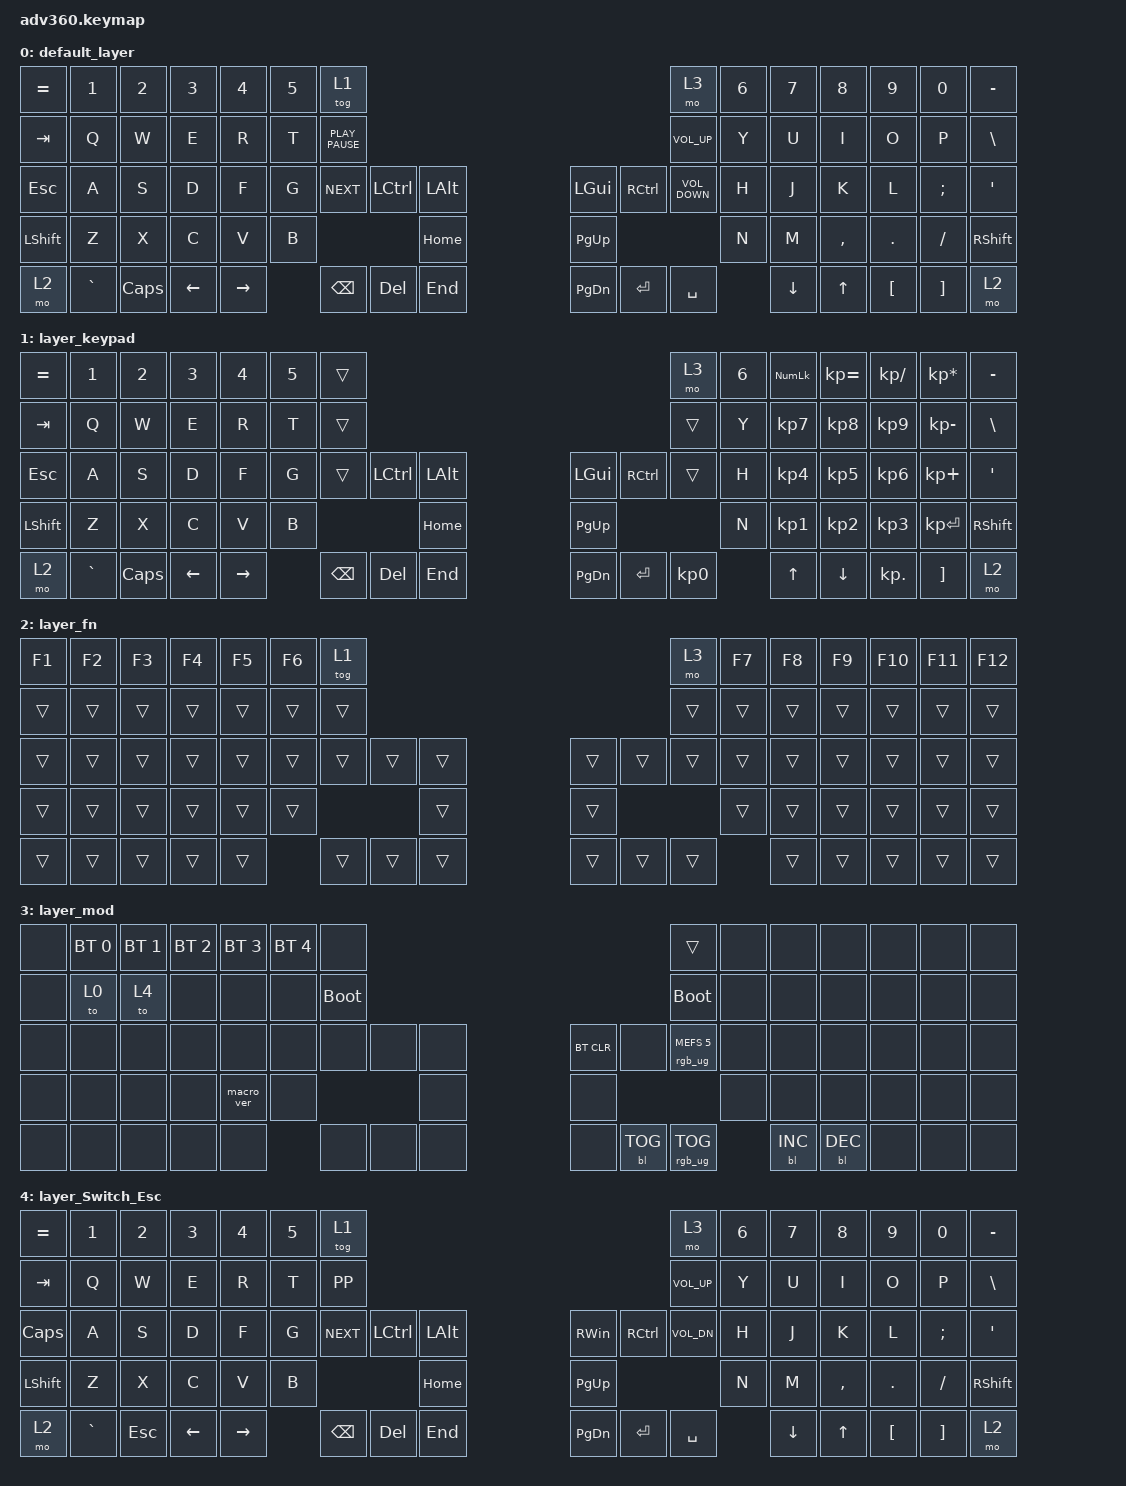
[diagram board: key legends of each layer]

/*
 * Copyright (c) 2020 The ZMK Contributors
 *
 * SPDX-License-Identifier: MIT
 */


/* THIS FILE WAS GENERATED!
 *
 * This file was generated automatically. You may or may not want to
 * edit it directly.
 */

#include <behaviors.dtsi>
#include <dt-bindings/zmk/keys.h>
#include <dt-bindings/zmk/bt.h>
#include <dt-bindings/zmk/rgb.h>
#include <dt-bindings/zmk/backlight.h>

/ {
  behaviors {
    #include "macros.dtsi"
    #include "version.dtsi"

    hm: homerow_mods {
        compatible = "zmk,behavior-hold-tap";
        label = "HOMEROW_MODS";
        #binding-cells = <2>;
        tapping-term-ms = <200>;
        quick_tap_ms = <175>;
        flavor = "tap-preferred";
        bindings = <&kp>, <&kp>;
    };
  };

    keymap {
        compatible = "zmk,keymap";


        default_layer {
            bindings = <
 &kp EQUAL     &kp N1    &kp N2    &kp N3     &kp N4  &kp N5                      &tog 1                                                                         &mo 3  &kp N6    &kp N7     &kp N8    &kp N9    &kp N0  &kp MINUS
   &kp TAB      &kp Q     &kp W     &kp E      &kp R   &kp T            &kp K_PLAY_PAUSE                                                                  &kp K_VOL_UP   &kp Y     &kp U      &kp I     &kp O     &kp P   &kp BSLH
   &kp ESC      &kp A     &kp S     &kp D      &kp F   &kp G                  &kp K_NEXT  &kp LCTRL  &kp LALT                   &kp LGUI  &kp RCTRL  &kp K_VOLUME_DOWN   &kp H     &kp J      &kp K     &kp L  &kp SEMI    &kp SQT
 &kp LSHFT      &kp Z     &kp X     &kp C      &kp V   &kp B                                         &kp HOME                  &kp PG_UP                                 &kp N     &kp M  &kp COMMA   &kp DOT  &kp FSLH  &kp RSHFT
     &mo 2  &kp GRAVE  &kp CAPS  &kp LEFT  &kp RIGHT                            &kp BSPC    &kp DEL   &kp END                  &kp PG_DN  &kp ENTER          &kp SPACE          &kp DOWN     &kp UP  &kp LBKT  &kp RBKT      &mo 2
            >;
        };

        layer_keypad {
            bindings = <
 &kp EQUAL     &kp N1    &kp N2    &kp N3     &kp N4  &kp N5              &trans                                                                 &mo 3  &kp N6  &kp KP_NUM  &kp KP_EQUAL  &kp KP_DIVIDE  &kp KP_MULTIPLY  &kp MINUS
   &kp TAB      &kp Q     &kp W     &kp E      &kp R   &kp T              &trans                                                                &trans   &kp Y   &kp KP_N7     &kp KP_N8      &kp KP_N9     &kp KP_MINUS   &kp BSLH
   &kp ESC      &kp A     &kp S     &kp D      &kp F   &kp G              &trans  &kp LCTRL  &kp LALT                   &kp LGUI  &kp RCTRL     &trans   &kp H   &kp KP_N4     &kp KP_N5      &kp KP_N6      &kp KP_PLUS    &kp SQT
 &kp LSHFT      &kp Z     &kp X     &kp C      &kp V   &kp B                                 &kp HOME                  &kp PG_UP                         &kp N   &kp KP_N1     &kp KP_N2      &kp KP_N3     &kp KP_ENTER  &kp RSHFT
     &mo 2  &kp GRAVE  &kp CAPS  &kp LEFT  &kp RIGHT                    &kp BSPC    &kp DEL   &kp END                  &kp PG_DN  &kp ENTER  &kp KP_N0              &kp UP      &kp DOWN     &kp KP_DOT         &kp RBKT      &mo 2
            >;
        };

        layer_fn {
            bindings = <
 &kp F1  &kp F2  &kp F3  &kp F4  &kp F5  &kp F6            &tog 1                                                   &mo 3  &kp F7  &kp F8  &kp F9  &kp F10  &kp F11  &kp F12
 &trans  &trans  &trans  &trans  &trans  &trans            &trans                                                  &trans  &trans  &trans  &trans   &trans   &trans   &trans
 &trans  &trans  &trans  &trans  &trans  &trans            &trans  &trans  &trans                  &trans  &trans  &trans  &trans  &trans  &trans   &trans   &trans   &trans
 &trans  &trans  &trans  &trans  &trans  &trans                            &trans                  &trans                  &trans  &trans  &trans   &trans   &trans   &trans
 &trans  &trans  &trans  &trans  &trans                    &trans  &trans  &trans                  &trans  &trans  &trans          &trans  &trans   &trans   &trans   &trans
            >;
        };

        layer_mod {
            bindings = <
  &none  &bt BT_SEL 0  &bt BT_SEL 1  &bt BT_SEL 2  &bt BT_SEL 3  &bt BT_SEL 4                  &none                                                                          &trans   &none       &none       &none   &none   &none   &none
  &none         &to 0         &to 4         &none         &none         &none            &bootloader                                                                     &bootloader   &none       &none       &none   &none   &none   &none
  &none         &none         &none         &none         &none         &none                  &none   &none   &none                  &bt BT_CLR       &none  &rgb_ug RGB_MEFS_CMD 5   &none       &none       &none   &none   &none   &none
  &none         &none         &none         &none    &macro_ver         &none                                  &none                       &none                                       &none       &none       &none   &none   &none   &none
  &none         &none         &none         &none         &none                                &none   &none   &none                       &none  &bl BL_TOG         &rgb_ug RGB_TOG          &bl BL_INC  &bl BL_DEC   &none   &none   &none
            >;
        };

        layer_Switch_Esc {
            bindings = <
      &kp EQUAL     &kp N1   &kp N2    &kp N3     &kp N4  &kp N5                   &tog 1                                                                            &mo 3  &kp N6    &kp N7     &kp N8            &kp N9             &kp N0        &kp MINUS
        &kp TAB      &kp Q    &kp W     &kp E      &kp R   &kp T                 &kp K_PP                                                                     &kp K_VOL_UP   &kp Y     &kp U      &kp I             &kp O              &kp P    &kp BACKSLASH
       &kp CAPS      &kp A    &kp S     &kp D      &kp F   &kp G               &kp K_NEXT  &kp LCTRL  &kp LEFT_ALT                  &kp RIGHT_WIN  &kp RCTRL  &kp K_VOL_DN   &kp H     &kp J      &kp K             &kp L           &kp SEMI          &kp SQT
 &kp LEFT_SHIFT      &kp Z    &kp X     &kp C      &kp V   &kp B                                          &kp HOME                      &kp PG_UP                            &kp N     &kp M  &kp COMMA        &kp PERIOD          &kp SLASH  &kp RIGHT_SHIFT
          &mo 2  &kp GRAVE  &kp ESC  &kp LEFT  &kp RIGHT                    &kp BACKSPACE    &kp DEL       &kp END                      &kp PG_DN  &kp ENTER     &kp SPACE          &kp DOWN     &kp UP  &kp LEFT_BRACKET  &kp RIGHT_BRACKET            &mo 2
            >;
        };

    };
};
